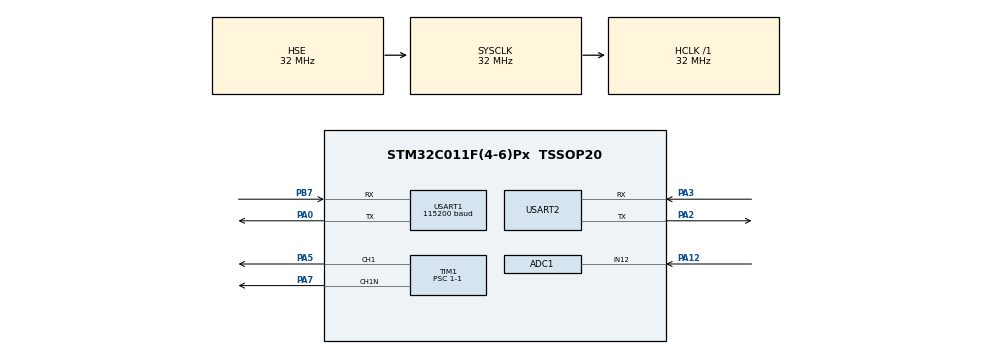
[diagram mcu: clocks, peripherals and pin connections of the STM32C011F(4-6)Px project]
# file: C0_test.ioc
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ADC1.Channel-0\#ChannelRegularConversion=ADC_CHANNEL_12
ADC1.NbrOfConversionFlag=1
ADC1.Rank-0\#ChannelRegularConversion=1
ADC1.SamplingTime-0\#ChannelRegularConversion=ADC_SAMPLINGTIME_COMMON_1
ADC1.SelectedChannel=ADC_CHANNEL_12
ADC1.master=1
Dma.Request0=USART1_RX
Dma.Request1=USART2_RX
Dma.USART1_RX.0.Direction=DMA_PERIPH_TO_MEMORY
Dma.USART1_RX.0.EventEnable=DISABLE
Dma.USART1_RX.0.Instance=DMA1_Channel1
Dma.USART1_RX.0.MemDataAlignment=DMA_MDATAALIGN_BYTE
Dma.USART1_RX.0.MemInc=DMA_MINC_ENABLE
Dma.USART1_RX.0.Mode=DMA_CIRCULAR
Dma.USART1_RX.0.PeriphDataAlignment=DMA_PDATAALIGN_BYTE
Dma.USART1_RX.0.PeriphInc=DMA_PINC_DISABLE
Dma.USART1_RX.0.Polarity=HAL_DMAMUX_REQ_GEN_RISING
Dma.USART1_RX.0.Priority=DMA_PRIORITY_LOW
Dma.USART1_RX.0.RequestNumber=1
Dma.USART1_RX.0.SignalID=NONE
Dma.USART1_RX.0.SyncEnable=DISABLE
Dma.USART1_RX.0.SyncPolarity=HAL_DMAMUX_SYNC_NO_EVENT
Dma.USART1_RX.0.SyncRequestNumber=1
Dma.USART1_RX.0.SyncSignalID=NONE
Dma.USART2_RX.1.Direction=DMA_PERIPH_TO_MEMORY
Dma.USART2_RX.1.EventEnable=DISABLE
Dma.USART2_RX.1.Instance=DMA1_Channel2
Dma.USART2_RX.1.MemDataAlignment=DMA_MDATAALIGN_BYTE
Dma.USART2_RX.1.MemInc=DMA_MINC_ENABLE
Dma.USART2_RX.1.Mode=DMA_CIRCULAR
Dma.USART2_RX.1.PeriphDataAlignment=DMA_PDATAALIGN_BYTE
Dma.USART2_RX.1.PeriphInc=DMA_PINC_DISABLE
Dma.USART2_RX.1.Polarity=HAL_DMAMUX_REQ_GEN_RISING
Dma.USART2_RX.1.Priority=DMA_PRIORITY_LOW
Dma.USART2_RX.1.RequestNumber=1
Dma.USART2_RX.1.SignalID=NONE
Dma.USART2_RX.1.SyncEnable=DISABLE
Dma.USART2_RX.1.SyncPolarity=HAL_DMAMUX_SYNC_NO_EVENT
Dma.USART2_RX.1.SyncRequestNumber=1
Dma.USART2_RX.1.SyncSignalID=NONE
Mcu.Family=STM32C0
Mcu.Name=STM32C011F(4-6)Px
Mcu.Package=TSSOP20
NVIC.DMA1_Channel1_IRQn=true\:0\:0\:false\:false\:true\:false\:true\:true
NVIC.DMA1_Channel2_3_IRQn=true\:0\:0\:false\:false\:true\:false\:true\:true
PA0.Mode=Asynchronous
PA0.Signal=USART1_TX
PA12\ [PA10].Mode=IN12
PA12\ [PA10].Signal=ADC1_IN12
PA13.Mode=Serial_Wire
PA13.Signal=DEBUG_SWDIO
PA14-BOOT0.Mode=Serial_Wire
PA14-BOOT0.Signal=DEBUG_SWCLK
PA2.Mode=Asynchronous
PA2.Signal=USART2_TX
PA3.Mode=Asynchronous
PA3.Signal=USART2_RX
PA5.Signal=S_TIM1_CH1
PA7.Mode=PWM Generation1 CH1 CH1N
PA7.Signal=TIM1_CH1N
PB7.Mode=Asynchronous
PB7.Signal=USART1_RX
PC14-OSCX_IN\ (PC14).Mode=HSE-External-Oscillator-REMAPPED
PC14-OSCX_IN\ (PC14).Signal=RCC_OSCX_IN
PC15-OSCX_OUT\ (PC15).Mode=HSE-External-Oscillator-REMAPPED
PC15-OSCX_OUT\ (PC15).Signal=RCC_OSCX_OUT
ProjectManager.HeapSize=0x200
ProjectManager.StackSize=0x400
ProjectManager.TargetToolchain=STM32CubeIDE
RCC.ADCFreq_Value=32000000
RCC.AHBFreq_Value=32000000
RCC.CortexFreq_Value=32000000
RCC.EXTERNAL_CLOCK_VALUE=12288000
RCC.HCLKFreq_Value=32000000
RCC.HSE_VALUE=32000000
RCC.HSI_VALUE=48000000
RCC.LSE_VALUE=32768
RCC.SYSCLKFreq_VALUE=32000000
RCC.SYSCLKSource=RCC_SYSCLKSOURCE_HSE
SH.S_TIM1_CH1.0=TIM1_CH1,PWM Generation1 CH1 CH1N
TIM1.Channel-PWM\ Generation1\ CH1\ CH1N=TIM_CHANNEL_1
TIM1.OCMode_PWM-PWM\ Generation1\ CH1\ CH1N=TIM_OCMODE_ASSYMETRIC_PWM1
TIM1.Period=32000-1
TIM1.Prescaler=1-1
USART1.BaudRate=115200
USART1.VirtualMode-Asynchronous=VM_ASYNC
USART2.VirtualMode-Asynchronous=VM_ASYNC
VP_TIM1_VS_ClockSourceINT.Mode=Internal
board=custom

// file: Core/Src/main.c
/* USER CODE BEGIN Header */
/**
  ******************************************************************************
  * @file           : main.c
  * @brief          : Main program body
  ******************************************************************************
  * @attention
  *
  * Copyright (c) 2024 STMicroelectronics.
  * All rights reserved.
  *
  * This software is licensed under terms that can be found in the LICENSE file
  * in the root directory of this software component.
  * If no LICENSE file comes with this software, it is provided AS-IS.
  *
  ******************************************************************************
  */
/* USER CODE END Header */
#include "main.h"
#include <stdio.h>

/* USER CODE BEGIN PD */
int abc = 0;

/* USER CODE END PD */

ADC_HandleTypeDef hadc1;

TIM_HandleTypeDef htim1;

UART_HandleTypeDef huart1;
UART_HandleTypeDef huart2;
DMA_HandleTypeDef hdma_usart1_rx;
DMA_HandleTypeDef hdma_usart2_rx;

void SystemClock_Config(void);
static void MX_GPIO_Init(void);
static void MX_DMA_Init(void);
static void MX_USART2_UART_Init(void);
static void MX_USART1_UART_Init(void);
static void MX_TIM1_Init(void);
static void MX_ADC1_Init(void);

/* USER CODE BEGIN 0 */
uint16_t readADC(){
	HAL_ADC_Start(&hadc1);
	HAL_ADC_PollForConversion(&hadc1, 100);
	HAL_ADC_Stop(&hadc1);
	return HAL_ADC_GetValue(&hadc1);
}

/* USER CODE END 0 */

int main(void)
{
  /* USER CODE BEGIN 1 */
	static uint8_t rxBuf1[128];
	int indexRead1 = 0;

	static uint8_t rxBuf2[128];
	int indexRead2 = 0;
//	setbuf(stdout, NULL);
	char buf[8];

  /* USER CODE END 1 */

  /* MCU Configuration--------------------------------------------------------*/

  /* Reset of all peripherals, Initializes the Flash interface and the Systick. */
  HAL_Init();

  /* Configure the system clock */
  SystemClock_Config();

  /* Initialize all configured peripherals */
  MX_GPIO_Init();
  MX_DMA_Init();
  MX_USART2_UART_Init();
  MX_USART1_UART_Init();
  MX_TIM1_Init();
  MX_ADC1_Init();
  /* USER CODE BEGIN 2 */
  HAL_TIM_PWM_Start(&htim1, TIM_CHANNEL_1);
  HAL_TIMEx_PWMN_Start(&htim1, TIM_CHANNEL_1);

  /* USER CODE END 2 */

  /* Infinite loop */
  /* USER CODE BEGIN WHILE */
  uint16_t out = 499;
  uint8_t flag = 0;
  HAL_UART_Receive_DMA(&huart1,rxBuf1,sizeof(rxBuf1));
  HAL_UART_Receive_DMA(&huart2,rxBuf2,sizeof(rxBuf2));
  while (1)
  {
    /* USER CODE END WHILE */

    /* USER CODE BEGIN 3 */
	  	uint16_t get = readADC();
//	  	get = get + 1;

	    if(flag == 0){
	    	out = out + 10;
	    	if(out>31989){
	    		flag = 1;
	    	}
	    }else{
	    	out = out - 10;
	    	if(out < 11){
	    		flag = 0;
	    	}
	    }

	    HAL_Delay(1);

	    __HAL_TIM_SET_COMPARE(&htim1, TIM_CHANNEL_1, out);

	    uint8_t readData1 = 0;

		int index1 = huart1.hdmarx->Instance->CNDTR;//バッファー残容
		index1 = sizeof(rxBuf1) - index1;//新の受信ータ位置

		int remainData1 = index1 - indexRead1;//ま読み込んでなータ数
		if(remainData1 < 0){remainData1 = remainData1 + sizeof(rxBuf1);}
		//
		if(remainData1 > 0){
			readData1 = rxBuf1[indexRead1];//ータ読み込み
		//新ータを読みたい時[index-1]を読!!!!!!!
			indexRead1++;
			if(indexRead1 == sizeof(rxBuf1)){indexRead1 = 0;}
			HAL_UART_Transmit(&huart2, &readData1, 1, 100);//受信した値をそのまま送信
		}

		uint8_t readData2 = 0;

		int index2 = huart2.hdmarx->Instance->CNDTR;//バッファー残容
		index2 = sizeof(rxBuf2) - index2;//新の受信ータ位置

		int remainData2 = index2 - indexRead2;//ま読み込んでなータ数
		if(remainData2 < 0){remainData2 = remainData2 + sizeof(rxBuf2);}
		//読み込み済みータ位置より新の受信ータ位置が前にある(バッファーで受信ータが周してた)値を補正

		if(remainData2 > 0){
			readData2 = rxBuf2[indexRead2];//ータ読み込み
			//新ータを読みたい時[index-1]を読!!!!!!!
			indexRead2++;
			if(indexRead2 == sizeof(rxBuf2)){indexRead2 = 0;}
//			printf(readData2);
			HAL_UART_Transmit(&huart1, &readData2, 1, 0);//受信した値をそのまま送信
		}
  }
  /* USER CODE END 3 */
}

void SystemClock_Config(void)
{
  RCC_OscInitTypeDef RCC_OscInitStruct = {0};
  RCC_ClkInitTypeDef RCC_ClkInitStruct = {0};

  /** Initializes the RCC Oscillators according to the specified parameters
  * in the RCC_OscInitTypeDef structure.
  */
  RCC_OscInitStruct.OscillatorType = RCC_OSCILLATORTYPE_HSE;
  RCC_OscInitStruct.HSEState = RCC_HSE_ON;
  if (HAL_RCC_OscConfig(&RCC_OscInitStruct) != HAL_OK)
  {
    Error_Handler();
  }

  /** Initializes the CPU, AHB and APB buses clocks
  */
  RCC_ClkInitStruct.ClockType = RCC_CLOCKTYPE_HCLK|RCC_CLOCKTYPE_SYSCLK
                              |RCC_CLOCKTYPE_PCLK1;
  RCC_ClkInitStruct.SYSCLKSource = RCC_SYSCLKSOURCE_HSE;
  RCC_ClkInitStruct.SYSCLKDivider = RCC_SYSCLK_DIV1;
  RCC_ClkInitStruct.AHBCLKDivider = RCC_HCLK_DIV1;
  RCC_ClkInitStruct.APB1CLKDivider = RCC_APB1_DIV1;

  if (HAL_RCC_ClockConfig(&RCC_ClkInitStruct, FLASH_LATENCY_1) != HAL_OK)
  {
    Error_Handler();
  }
}

static void MX_ADC1_Init(void)
{

  ADC_ChannelConfTypeDef sConfig = {0};

  /** Configure the global features of the ADC (Clock, Resolution, Data Alignment and number of conversion)
  */
  hadc1.Instance = ADC1;
  hadc1.Init.ClockPrescaler = ADC_CLOCK_SYNC_PCLK_DIV1;
  hadc1.Init.Resolution = ADC_RESOLUTION_12B;
  hadc1.Init.DataAlign = ADC_DATAALIGN_RIGHT;
  hadc1.Init.ScanConvMode = ADC_SCAN_DISABLE;
  hadc1.Init.EOCSelection = ADC_EOC_SINGLE_CONV;
  hadc1.Init.LowPowerAutoWait = DISABLE;
  hadc1.Init.LowPowerAutoPowerOff = DISABLE;
  hadc1.Init.ContinuousConvMode = DISABLE;
  hadc1.Init.NbrOfConversion = 1;
  hadc1.Init.DiscontinuousConvMode = DISABLE;
  hadc1.Init.ExternalTrigConv = ADC_SOFTWARE_START;
  hadc1.Init.ExternalTrigConvEdge = ADC_EXTERNALTRIGCONVEDGE_NONE;
  hadc1.Init.DMAContinuousRequests = DISABLE;
  hadc1.Init.Overrun = ADC_OVR_DATA_PRESERVED;
  hadc1.Init.SamplingTimeCommon1 = ADC_SAMPLETIME_1CYCLE_5;
  hadc1.Init.SamplingTimeCommon2 = ADC_SAMPLETIME_1CYCLE_5;
  hadc1.Init.OversamplingMode = DISABLE;
  hadc1.Init.TriggerFrequencyMode = ADC_TRIGGER_FREQ_HIGH;
  if (HAL_ADC_Init(&hadc1) != HAL_OK)
  {
    Error_Handler();
  }

  /** Configure Regular Channel
  */
  sConfig.Channel = ADC_CHANNEL_12;
  sConfig.Rank = ADC_REGULAR_RANK_1;
  sConfig.SamplingTime = ADC_SAMPLINGTIME_COMMON_1;
  if (HAL_ADC_ConfigChannel(&hadc1, &sConfig) != HAL_OK)
  {
    Error_Handler();
  }

}

static void MX_TIM1_Init(void)
{

  TIM_ClockConfigTypeDef sClockSourceConfig = {0};
  TIM_MasterConfigTypeDef sMasterConfig = {0};
  TIM_OC_InitTypeDef sConfigOC = {0};
  TIM_BreakDeadTimeConfigTypeDef sBreakDeadTimeConfig = {0};

  htim1.Instance = TIM1;
  htim1.Init.Prescaler = 1-1;
  htim1.Init.CounterMode = TIM_COUNTERMODE_UP;
  htim1.Init.Period = 32000-1;
  htim1.Init.ClockDivision = TIM_CLOCKDIVISION_DIV1;
  htim1.Init.RepetitionCounter = 0;
  htim1.Init.AutoReloadPreload = TIM_AUTORELOAD_PRELOAD_DISABLE;
  if (HAL_TIM_Base_Init(&htim1) != HAL_OK)
  {
    Error_Handler();
  }
  sClockSourceConfig.ClockSource = TIM_CLOCKSOURCE_INTERNAL;
  if (HAL_TIM_ConfigClockSource(&htim1, &sClockSourceConfig) != HAL_OK)
  {
    Error_Handler();
  }
  if (HAL_TIM_PWM_Init(&htim1) != HAL_OK)
  {
    Error_Handler();
  }
  sMasterConfig.MasterOutputTrigger = TIM_TRGO_RESET;
  sMasterConfig.MasterOutputTrigger2 = TIM_TRGO2_RESET;
  sMasterConfig.MasterSlaveMode = TIM_MASTERSLAVEMODE_DISABLE;
  if (HAL_TIMEx_MasterConfigSynchronization(&htim1, &sMasterConfig) != HAL_OK)
  {
    Error_Handler();
  }
  sConfigOC.OCMode = TIM_OCMODE_ASSYMETRIC_PWM1;
  sConfigOC.Pulse = 0;
  sConfigOC.OCPolarity = TIM_OCPOLARITY_HIGH;
  sConfigOC.OCNPolarity = TIM_OCNPOLARITY_HIGH;
  sConfigOC.OCFastMode = TIM_OCFAST_DISABLE;
  sConfigOC.OCIdleState = TIM_OCIDLESTATE_RESET;
  sConfigOC.OCNIdleState = TIM_OCNIDLESTATE_RESET;
  if (HAL_TIM_PWM_ConfigChannel(&htim1, &sConfigOC, TIM_CHANNEL_1) != HAL_OK)
  {
    Error_Handler();
  }
  sBreakDeadTimeConfig.OffStateRunMode = TIM_OSSR_DISABLE;
  sBreakDeadTimeConfig.OffStateIDLEMode = TIM_OSSI_DISABLE;
  sBreakDeadTimeConfig.LockLevel = TIM_LOCKLEVEL_OFF;
  sBreakDeadTimeConfig.DeadTime = 0;
  sBreakDeadTimeConfig.BreakState = TIM_BREAK_DISABLE;
  sBreakDeadTimeConfig.BreakPolarity = TIM_BREAKPOLARITY_HIGH;
  sBreakDeadTimeConfig.BreakFilter = 0;
  sBreakDeadTimeConfig.BreakAFMode = TIM_BREAK_AFMODE_INPUT;
  sBreakDeadTimeConfig.Break2State = TIM_BREAK2_DISABLE;
  sBreakDeadTimeConfig.Break2Polarity = TIM_BREAK2POLARITY_HIGH;
  sBreakDeadTimeConfig.Break2Filter = 0;
  sBreakDeadTimeConfig.Break2AFMode = TIM_BREAK_AFMODE_INPUT;
  sBreakDeadTimeConfig.AutomaticOutput = TIM_AUTOMATICOUTPUT_DISABLE;
  if (HAL_TIMEx_ConfigBreakDeadTime(&htim1, &sBreakDeadTimeConfig) != HAL_OK)
  {
    Error_Handler();
  }
  HAL_TIM_MspPostInit(&htim1);

}

static void MX_USART1_UART_Init(void)
{

  huart1.Instance = USART1;
  huart1.Init.BaudRate = 115200;
  huart1.Init.WordLength = UART_WORDLENGTH_8B;
  huart1.Init.StopBits = UART_STOPBITS_1;
  huart1.Init.Parity = UART_PARITY_NONE;
  huart1.Init.Mode = UART_MODE_TX_RX;
  huart1.Init.HwFlowCtl = UART_HWCONTROL_NONE;
  huart1.Init.OverSampling = UART_OVERSAMPLING_16;
  huart1.Init.OneBitSampling = UART_ONE_BIT_SAMPLE_DISABLE;
  huart1.Init.ClockPrescaler = UART_PRESCALER_DIV1;
  huart1.AdvancedInit.AdvFeatureInit = UART_ADVFEATURE_NO_INIT;
  if (HAL_UART_Init(&huart1) != HAL_OK)
  {
    Error_Handler();
  }
  if (HAL_UARTEx_SetTxFifoThreshold(&huart1, UART_TXFIFO_THRESHOLD_1_8) != HAL_OK)
  {
    Error_Handler();
  }
  if (HAL_UARTEx_SetRxFifoThreshold(&huart1, UART_RXFIFO_THRESHOLD_1_8) != HAL_OK)
  {
    Error_Handler();
  }
  if (HAL_UARTEx_DisableFifoMode(&huart1) != HAL_OK)
  {
    Error_Handler();
  }

}

static void MX_USART2_UART_Init(void)
{

  huart2.Instance = USART2;
  huart2.Init.BaudRate = 115200;
  huart2.Init.WordLength = UART_WORDLENGTH_8B;
  huart2.Init.StopBits = UART_STOPBITS_1;
  huart2.Init.Parity = UART_PARITY_NONE;
  huart2.Init.Mode = UART_MODE_TX_RX;
  huart2.Init.HwFlowCtl = UART_HWCONTROL_NONE;
  huart2.Init.OverSampling = UART_OVERSAMPLING_16;
  huart2.Init.OneBitSampling = UART_ONE_BIT_SAMPLE_DISABLE;
  huart2.Init.ClockPrescaler = UART_PRESCALER_DIV1;
  huart2.AdvancedInit.AdvFeatureInit = UART_ADVFEATURE_NO_INIT;
  if (HAL_UART_Init(&huart2) != HAL_OK)
  {
    Error_Handler();
  }

}

static void MX_DMA_Init(void)
{

  /* DMA controller clock enable */
  __HAL_RCC_DMA1_CLK_ENABLE();

  /* DMA interrupt init */
  /* DMA1_Channel1_IRQn interrupt configuration */
  HAL_NVIC_SetPriority(DMA1_Channel1_IRQn, 0, 0);
  HAL_NVIC_EnableIRQ(DMA1_Channel1_IRQn);
  /* DMA1_Channel2_3_IRQn interrupt configuration */
  HAL_NVIC_SetPriority(DMA1_Channel2_3_IRQn, 0, 0);
  HAL_NVIC_EnableIRQ(DMA1_Channel2_3_IRQn);

}

static void MX_GPIO_Init(void)
{

  /* GPIO Ports Clock Enable */
  __HAL_RCC_GPIOB_CLK_ENABLE();
  __HAL_RCC_GPIOC_CLK_ENABLE();
  __HAL_RCC_GPIOA_CLK_ENABLE();

}

/* USER CODE BEGIN 4 */
int _write(int file, char *ptr, int len)
{
  HAL_UART_Transmit(&huart1,(uint8_t *)ptr,len,10);
  return len;
}

/* USER CODE END 4 */

void Error_Handler(void)
{
  __disable_irq();
  while (1)
  {
  }
}
